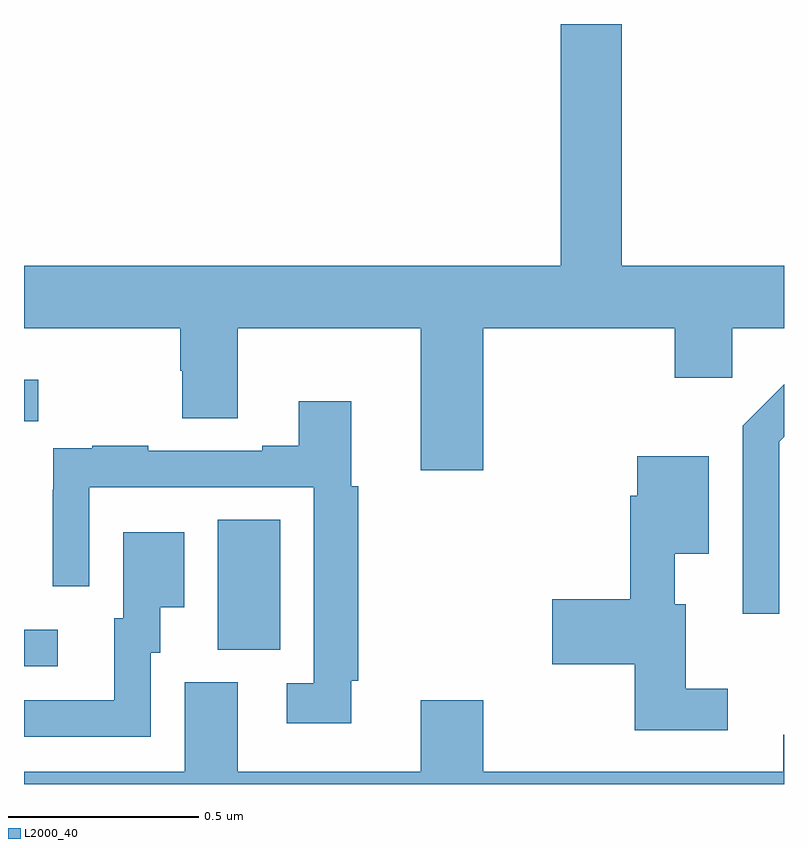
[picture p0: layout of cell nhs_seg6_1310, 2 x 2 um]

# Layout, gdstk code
import gdstk
lib = gdstk.Library(unit=1e-6, precision=1e-09)
def R(c, l, rs):  # rectangles x0, y0, x1, y1
    for r in rs: c.add(gdstk.rectangle(r[:2], r[2:], *l))
def P(c, l, *ps):  # polygons
    for p in ps: c.add(gdstk.Polygon(p, *l))
L2000_40 = (2000, 40)

nhs_seg6_1310 = lib.new_cell('nhs_seg6_1310')
R(nhs_seg6_1310, L2000_40, [(128,915.81,128.089,915.906), (128.51,915.853,128.674,916.196), (128,916.454,128.038,916.564)])
P(nhs_seg6_1310, L2000_40, [(129.208,916.7),(129.713,916.7),(129.713,916.569),(129.864,916.569),(129.864,916.7),(130,916.7),(130,916.864),(129.573,916.864),(129.573,917.5),(129.413,917.5),(129.413,916.864),(128,916.864),(128,916.7),(128.411,916.7),(128.411,916.587),(128.416,916.587),(128.416,916.462),(128.563,916.462),(128.563,916.7),(129.044,916.7),(129.044,916.326),(129.208,916.326)],
  [(129.987,916.401),(130,916.414),(130,916.552),(129.891,916.443),(129.891,915.948),(129.987,915.948)],
  [(128.861,915.772),(128.879,915.772),(128.879,916.284),(128.861,916.284),(128.861,916.507),(128.723,916.507),(128.723,916.39),(128.627,916.39),(128.627,916.377),(128.327,916.377),(128.327,916.39),(128.179,916.39),(128.179,916.383),(128.077,916.383),(128.077,916.274),(128.076,916.274),(128.076,916.02),(128.172,916.02),(128.172,916.281),(128.763,916.281),(128.763,915.765),(128.691,915.765),(128.691,915.66),(128.861,915.66)],
  [(129.852,915.751),(129.742,915.751),(129.742,915.973),(129.713,915.973),(129.713,916.106),(129.802,916.106),(129.802,916.363),(129.614,916.363),(129.614,916.259),(129.595,916.259),(129.595,915.986),(129.39,915.986),(129.39,915.815),(129.607,915.815),(129.607,915.642),(129.852,915.642)],
  [(128.334,915.846),(128.359,915.846),(128.359,915.965),(128.422,915.965),(128.422,916.162),(128.261,916.162),(128.261,915.936),(128.237,915.936),(128.237,915.72),(128,915.72),(128,915.624),(128.334,915.624)],
  [(130,915.63),(129.998,915.63),(129.998,915.532),(129.208,915.532),(129.208,915.721),(129.044,915.721),(129.044,915.532),(128.563,915.532),(128.563,915.768),(128.423,915.768),(128.423,915.532),(128,915.532),(128,915.5),(130,915.5)])

lib.write_gds('nhs_seg6_1310.gds')
